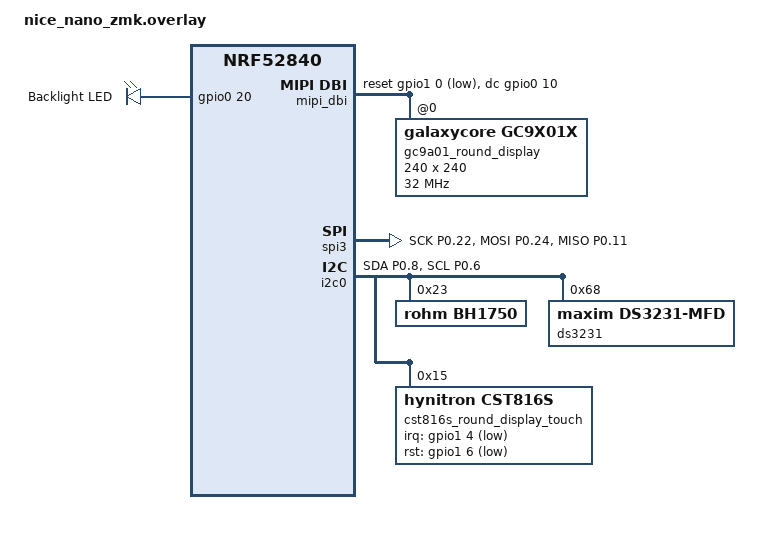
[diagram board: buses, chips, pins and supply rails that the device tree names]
#include <freq.h>
#include <zephyr/dt-bindings/display/panel.h>

/* ==========================================
1. SPI & DISPLAY CONFIGURATION (GC9A01)
========================================== */

&pinctrl {
	spi3_default: spi3_default {
		group1 {
			psels = <NRF_PSEL(SPIM_SCK, 0, 22)>,
			<NRF_PSEL(SPIM_MOSI, 0, 24)>,
			<NRF_PSEL(SPIM_MISO, 0, 11)>;
		};
	};
	spi3_sleep: spi3_sleep {
		group1 {
			psels = <NRF_PSEL(SPIM_SCK, 0, 22)>,
			<NRF_PSEL(SPIM_MOSI, 0, 24)>,
			<NRF_PSEL(SPIM_MISO, 0, 11)>;
			low-power-enable;
		};
	};
};

&spi3 {
	status = "okay";
	compatible = "nordic,nrf-spim";
	pinctrl-0 = <&spi3_default>;
	pinctrl-1 = <&spi3_sleep>;
	pinctrl-names = "default", "sleep";
	max-frequency = <DT_FREQ_M(32)>;
	
	cs-gpios = <&gpio0 9 GPIO_ACTIVE_LOW>;
};

/ {
	chosen {
		zephyr,display = &gc9a01_round_display;
	};
	
	mipi_dbi {
		compatible = "zephyr,mipi-dbi-spi";
		status = "okay";
		#address-cells = <1>;
		#size-cells = <0>;
		spi-dev = <&spi3>;
		dc-gpios = <&gpio0 10 GPIO_ACTIVE_HIGH>;
		reset-gpios = <&gpio1 0 GPIO_ACTIVE_LOW>;
		
		gc9a01_round_display: gc9a01_round_display@0 {
			compatible = "galaxycore,gc9x01x";
			reg = <0>;
			status = "okay";
			mipi-max-frequency = <DT_FREQ_M(32)>;
			pixel-format = <PANEL_PIXEL_FORMAT_RGB_565>;
			width = <240>;
			height = <240>;
			display-inversion;
		};
	};
};


/* ==========================================
2. I2C & SENSORS/TOUCH CONFIGURATION (CHSC6X)
========================================== */

&pinctrl {
	i2c0_default: i2c0_default {
		group1 {
			psels = <NRF_PSEL(TWIM_SDA, 0, 8)>,
			<NRF_PSEL(TWIM_SCL, 0, 6)>;
		};
	};
	i2c0_sleep: i2c0_sleep {
		group1 {
			psels = <NRF_PSEL(TWIM_SDA, 0, 8)>,
			<NRF_PSEL(TWIM_SCL, 0, 6)>;
			low-power-enable;
		};
	};
};

&i2c0 {
	status = "okay";
	pinctrl-0 = <&i2c0_default>;
	pinctrl-1 = <&i2c0_sleep>;
	pinctrl-names = "default", "sleep";
	
	bh1750: bh1750@23 {
		compatible = "rohm,bh1750";
		reg = <0x23>;
		status = "okay";
	};
	
	ds3231: ds3231@68 {
		compatible = "maxim,ds3231-mfd";
		reg = <0x68>;
		ds3231_rtc: rtc {
			compatible = "maxim,ds3231-rtc";
			status = "okay";
			isw-gpios = <&gpio0 17 (GPIO_PULL_UP | GPIO_ACTIVE_LOW)>;
		};
	};
	
	cst816s_round_display_touch: cst816s@15 {
		status = "okay";
		compatible = "hynitron,cst816s";
		reg = <0x15>;
		irq-gpios = <&gpio1 4 GPIO_ACTIVE_LOW>;
		rst-gpios = <&gpio1 6 GPIO_ACTIVE_LOW>;
	};
};

/ {
	aliases {
		rtc = &ds3231_rtc;
	};

	chosen {
		zephyr,touch = &cst816s_round_display_touch;
	};
	
	lvgl_pointer {
		compatible = "zephyr,lvgl-pointer-input";
		input = <&cst816s_round_display_touch>;
	};
};


/* ==========================================
3. PWM & BACKLIGHT CONFIGURATION
========================================== */

/ {
	chosen {
		zmk,display-led = &display_backlight;
	};
	
	backlight: node_led {
		compatible = "gpio-leds";
		display_backlight: led_0 {
			gpios = <&gpio0 20 GPIO_ACTIVE_HIGH>;
			label = "Backlight LED";
		};
	};
};

&uart0 {
	status = "disabled";
};


/* ==========================================
4. SYSTEM CONFIGURATION (FLASH PARTITIONS)
========================================== */
&spi2 { status = "disabled"; };
&uart0 { status = "disabled"; };
&flash0 {
	partitions {
		/* Remove legacy partitions from base dts */
		/delete-node/ partition@0;
		/delete-node/ partition@26000;
		/delete-node/ partition@ec000;
		/delete-node/ partition@f4000;
	};
};

#include <nordic/nrf52840_partition_uf2_sdv7.dtsi>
